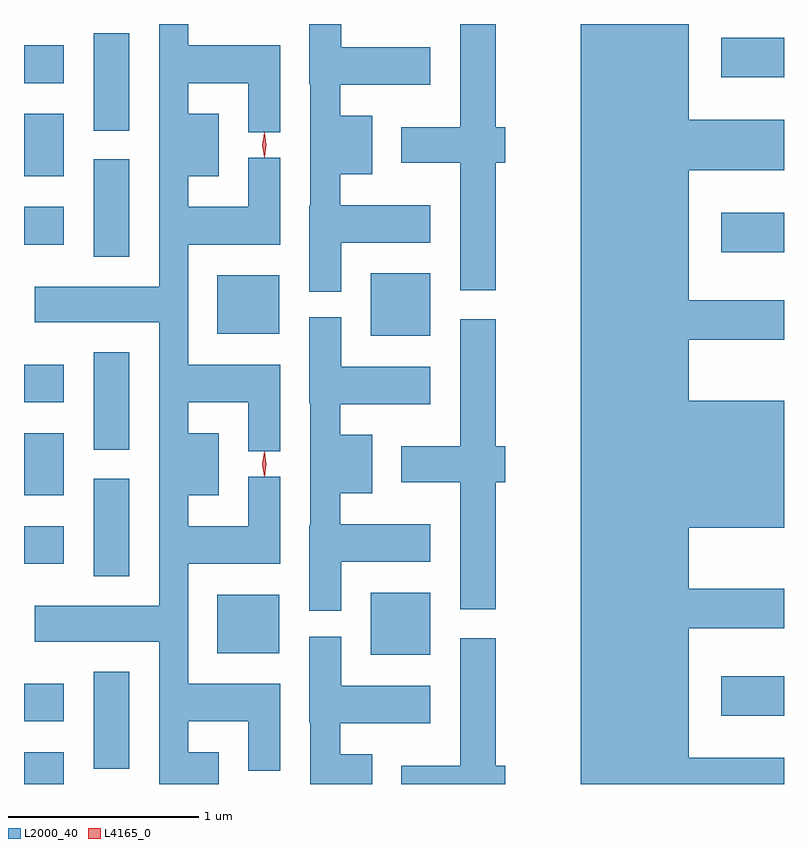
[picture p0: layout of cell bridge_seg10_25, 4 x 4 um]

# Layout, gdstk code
import gdstk
lib = gdstk.Library(unit=1e-6, precision=1e-09)
def R(c, l, rs):  # rectangles x0, y0, x1, y1
    for r in rs: c.add(gdstk.rectangle(r[:2], r[2:], *l))
def P(c, l, *ps):  # polygons
    for p in ps: c.add(gdstk.Polygon(p, *l))
L2000_40 = (2000, 40)
L4165_0 = (4165, 0)

bridge_seg10_25 = lib.new_cell('bridge_seg10_25')
R(bridge_seg10_25, L2000_40, [(1748.87,2159.087,1749.079,2159.254), (1749.236,2159.166,1749.424,2159.679), (1748.87,2159.416,1749.079,2159.614), (1752.541,2159.446,1752.87,2159.654), (1750.696,2159.766,1751.009,2160.094), (1749.886,2159.776,1750.214,2160.084), (1749.236,2160.181,1749.424,2160.694), (1748.87,2160.246,1749.079,2160.444), (1748.87,2160.606,1749.079,2160.934), (1749.236,2160.846,1749.424,2161.359), (1748.87,2161.096,1749.079,2161.294), (1750.696,2161.446,1751.009,2161.774), (1749.886,2161.456,1750.214,2161.764), (1749.236,2161.861,1749.424,2162.374), (1752.541,2161.886,1752.87,2162.094), (1748.87,2161.926,1749.079,2162.124), (1748.87,2162.286,1749.079,2162.614), (1749.236,2162.526,1749.424,2163.039), (1748.87,2162.776,1749.079,2162.974), (1752.541,2162.806,1752.87,2163.014)])
P(bridge_seg10_25, L2000_40, [(1752.87,2159.224),(1752.369,2159.224),(1752.369,2159.906),(1752.87,2159.906),(1752.87,2160.114),(1752.369,2160.114),(1752.369,2160.436),(1752.87,2160.436),(1752.87,2161.104),(1752.369,2161.104),(1752.369,2161.426),(1752.87,2161.426),(1752.87,2161.634),(1752.369,2161.634),(1752.369,2162.316),(1752.87,2162.316),(1752.87,2162.584),(1752.369,2162.584),(1752.369,2163.087),(1751.801,2163.087),(1751.801,2159.087),(1752.87,2159.087)],
  [(1751.354,2162.356),(1751.404,2162.356),(1751.404,2162.544),(1751.354,2162.544),(1751.354,2163.087),(1751.166,2163.087),(1751.166,2162.544),(1750.856,2162.544),(1750.856,2162.356),(1751.166,2162.356),(1751.166,2161.686),(1751.354,2161.686)],
  [(1749.894,2159.254),(1749.734,2159.254),(1749.734,2159.416),(1750.051,2159.416),(1750.051,2159.158),(1750.219,2159.158),(1750.219,2159.614),(1749.734,2159.614),(1749.734,2160.246),(1750.219,2160.246),(1750.219,2160.703),(1750.051,2160.703),(1750.051,2160.444),(1749.734,2160.444),(1749.734,2160.606),(1749.894,2160.606),(1749.894,2160.934),(1749.734,2160.934),(1749.734,2161.096),(1750.051,2161.096),(1750.051,2160.838),(1750.219,2160.838),(1750.219,2161.294),(1749.734,2161.294),(1749.734,2161.926),(1750.219,2161.926),(1750.219,2162.383),(1750.051,2162.383),(1750.051,2162.124),(1749.734,2162.124),(1749.734,2162.286),(1749.894,2162.286),(1749.894,2162.614),(1749.734,2162.614),(1749.734,2162.776),(1750.051,2162.776),(1750.051,2162.518),(1750.219,2162.518),(1750.219,2162.974),(1749.734,2162.974),(1749.734,2163.087),(1749.581,2163.087),(1749.581,2161.704),(1748.926,2161.704),(1748.926,2161.516),(1749.581,2161.516),(1749.581,2160.024),(1748.926,2160.024),(1748.926,2159.836),(1749.581,2159.836),(1749.581,2159.087),(1749.894,2159.087)],
  [(1750.539,2161.936),(1751.009,2161.936),(1751.009,2162.134),(1750.534,2162.134),(1750.534,2162.296),(1750.704,2162.296),(1750.704,2162.604),(1750.534,2162.604),(1750.534,2162.766),(1751.009,2162.766),(1751.009,2162.964),(1750.539,2162.964),(1750.539,2163.087),(1750.371,2163.087),(1750.371,2162.77),(1750.376,2162.77),(1750.376,2162.13),(1750.371,2162.13),(1750.371,2161.678),(1750.539,2161.678)],
  [(1750.539,2160.256),(1751.009,2160.256),(1751.009,2160.454),(1750.534,2160.454),(1750.534,2160.616),(1750.704,2160.616),(1750.704,2160.924),(1750.534,2160.924),(1750.534,2161.086),(1751.009,2161.086),(1751.009,2161.284),(1750.539,2161.284),(1750.539,2161.543),(1750.371,2161.543),(1750.371,2161.09),(1750.376,2161.09),(1750.376,2160.45),(1750.371,2160.45),(1750.371,2159.998),(1750.539,2159.998)],
  [(1751.354,2160.676),(1751.404,2160.676),(1751.404,2160.864),(1751.354,2160.864),(1751.354,2161.534),(1751.166,2161.534),(1751.166,2160.864),(1750.856,2160.864),(1750.856,2160.676),(1751.166,2160.676),(1751.166,2160.006),(1751.354,2160.006)],
  [(1750.704,2159.244),(1750.534,2159.244),(1750.534,2159.406),(1751.009,2159.406),(1751.009,2159.604),(1750.539,2159.604),(1750.539,2159.863),(1750.371,2159.863),(1750.371,2159.41),(1750.376,2159.41),(1750.376,2159.087),(1750.704,2159.087)],
  [(1751.404,2159.184),(1751.354,2159.184),(1751.354,2159.854),(1751.166,2159.854),(1751.166,2159.184),(1750.856,2159.184),(1750.856,2159.087),(1751.404,2159.087)])
P(bridge_seg10_25, L4165_0, [(1750.135,2160.704),(1750.134,2160.705),(1750.125,2160.77),(1750.134,2160.835),(1750.135,2160.836),(1750.136,2160.835),(1750.145,2160.77),(1750.136,2160.705)],
  [(1750.135,2162.384),(1750.134,2162.385),(1750.125,2162.45),(1750.134,2162.515),(1750.135,2162.516),(1750.136,2162.515),(1750.145,2162.45),(1750.136,2162.385)])

lib.write_gds('bridge_seg10_25.gds')
